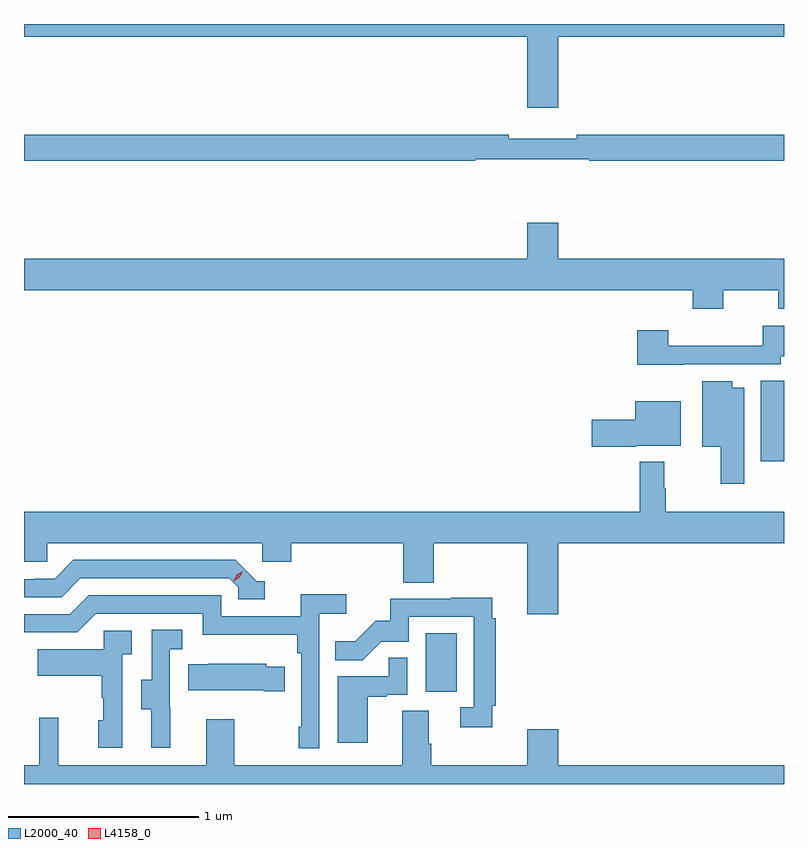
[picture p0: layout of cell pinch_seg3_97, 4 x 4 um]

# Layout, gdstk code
import gdstk
lib = gdstk.Library(unit=1e-6, precision=1e-09)
def R(c, l, rs):  # rectangles x0, y0, x1, y1
    for r in rs: c.add(gdstk.rectangle(r[:2], r[2:], *l))
def P(c, l, *ps):  # polygons
    for p in ps: c.add(gdstk.Polygon(p, *l))
L2000_40 = (2000, 40)
L4158_0 = (4158, 0)

pinch_seg3_97 = lib.new_cell('pinch_seg3_97')
R(pinch_seg3_97, L2000_40, [(1063.574,718.782,1063.738,719.089), (1065.338,719.994,1065.46,720.419)])
P(pinch_seg3_97, L2000_40, [(1061.46,722.228),(1064.108,722.228),(1064.108,721.854),(1064.272,721.854),(1064.272,722.228),(1065.46,722.228),(1065.46,722.296),(1061.46,722.296)],
  [(1063.834,721.584),(1064.434,721.584),(1064.434,721.576),(1065.46,721.576),(1065.46,721.712),(1064.368,721.712),(1064.368,721.693),(1064.012,721.693),(1064.012,721.712),(1061.46,721.712),(1061.46,721.576),(1063.834,721.576)],
  [(1065.141,720.896),(1065.43,720.896),(1065.43,720.797),(1065.46,720.797),(1065.46,721.06),(1064.272,721.06),(1064.272,721.249),(1064.108,721.249),(1064.108,721.06),(1061.46,721.06),(1061.46,720.896),(1064.981,720.896),(1064.981,720.797),(1065.141,720.797)],
  [(1064.933,720.504),(1065.444,720.504),(1065.444,720.548),(1065.46,720.548),(1065.46,720.709),(1065.348,720.709),(1065.348,720.602),(1064.852,720.602),(1064.852,720.685),(1064.687,720.685),(1064.687,720.503),(1064.933,720.503)],
  [(1065.25,720.382),(1065.187,720.382),(1065.187,720.415),(1065.029,720.415),(1065.029,720.071),(1065.128,720.071),(1065.128,719.877),(1065.25,719.877)],
  [(1064.682,720.077),(1064.917,720.077),(1064.917,720.31),(1064.678,720.31),(1064.678,720.212),(1064.448,720.212),(1064.448,720.07),(1064.682,720.07)],
  [(1064.272,719.564),(1065.46,719.564),(1065.46,719.728),(1064.837,719.728),(1064.837,719.852),(1064.83,719.852),(1064.83,719.992),(1064.702,719.992),(1064.702,719.728),(1061.46,719.728),(1061.46,719.466),(1061.583,719.466),(1061.583,719.564),(1062.714,719.564),(1062.714,719.466),(1062.866,719.466),(1062.866,719.564),(1063.457,719.564),(1063.457,719.356),(1063.617,719.356),(1063.617,719.564),(1064.108,719.564),(1064.108,719.19),(1064.272,719.19)],
  [(1062.727,719.364),(1062.684,719.364),(1062.573,719.475),(1061.72,719.475),(1061.621,719.376),(1061.514,719.376),(1061.514,719.373),(1061.46,719.373),(1061.46,719.28),(1061.658,719.28),(1061.757,719.379),(1062.54,719.379),(1062.588,719.331),(1062.588,719.268),(1062.727,719.268)],
  [(1063.014,719.192),(1063.156,719.192),(1063.156,719.294),(1062.917,719.294),(1062.917,719.178),(1062.498,719.178),(1062.498,719.289),(1061.801,719.289),(1061.702,719.19),(1061.46,719.19),(1061.46,719.094),(1061.739,719.094),(1061.838,719.193),(1062.402,719.193),(1062.402,719.081),(1062.898,719.081),(1062.898,718.985),(1062.918,718.985),(1062.918,718.597),(1062.906,718.597),(1062.906,718.485),(1063.014,718.485)],
  [(1063.925,718.708),(1063.943,718.708),(1063.943,719.168),(1063.925,719.168),(1063.925,719.276),(1063.705,719.276),(1063.705,719.271),(1063.387,719.271),(1063.387,719.154),(1063.31,719.154),(1063.203,719.047),(1063.099,719.047),(1063.099,718.948),(1063.243,718.948),(1063.341,719.046),(1063.485,719.046),(1063.485,719.175),(1063.827,719.175),(1063.827,718.701),(1063.755,718.701),(1063.755,718.596),(1063.925,718.596)],
  [(1062.23,718.701),(1062.228,718.701),(1062.228,719.005),(1062.292,719.005),(1062.292,719.108),(1062.132,719.108),(1062.132,718.845),(1062.077,718.845),(1062.077,718.69),(1062.131,718.69),(1062.131,718.488),(1062.23,718.488)],
  [(1061.976,718.979),(1062.028,718.979),(1062.028,719.103),(1061.88,719.103),(1061.88,719.005),(1061.533,719.005),(1061.533,718.865),(1061.868,718.865),(1061.868,718.751),(1061.878,718.751),(1061.878,718.632),(1061.852,718.632),(1061.852,718.488),(1061.976,718.488)],
  [(1063.27,718.755),(1063.37,718.755),(1063.37,718.767),(1063.476,718.767),(1063.476,718.961),(1063.381,718.961),(1063.381,718.863),(1063.112,718.863),(1063.112,718.512),(1063.27,718.512)],
  [(1062.833,718.912),(1062.735,718.912),(1062.735,718.93),(1062.433,718.93),(1062.433,718.927),(1062.325,718.927),(1062.325,718.79),(1062.722,718.79),(1062.722,718.783),(1062.833,718.783)],
  [(1065.46,718.396),(1064.272,718.396),(1064.272,718.585),(1064.108,718.585),(1064.108,718.396),(1063.604,718.396),(1063.604,718.508),(1063.591,718.508),(1063.591,718.682),(1063.451,718.682),(1063.451,718.396),(1062.567,718.396),(1062.567,718.636),(1062.419,718.636),(1062.419,718.396),(1061.639,718.396),(1061.639,718.645),(1061.541,718.645),(1061.541,718.396),(1061.46,718.396),(1061.46,718.296),(1065.46,718.296)])
P(pinch_seg3_97, L4158_0, [(1062.565,719.364),(1062.565,719.365),(1062.581,719.397),(1062.612,719.416),(1062.612,719.416),(1062.612,719.416),(1062.596,719.383),(1062.565,719.364)])

lib.write_gds('pinch_seg3_97.gds')
